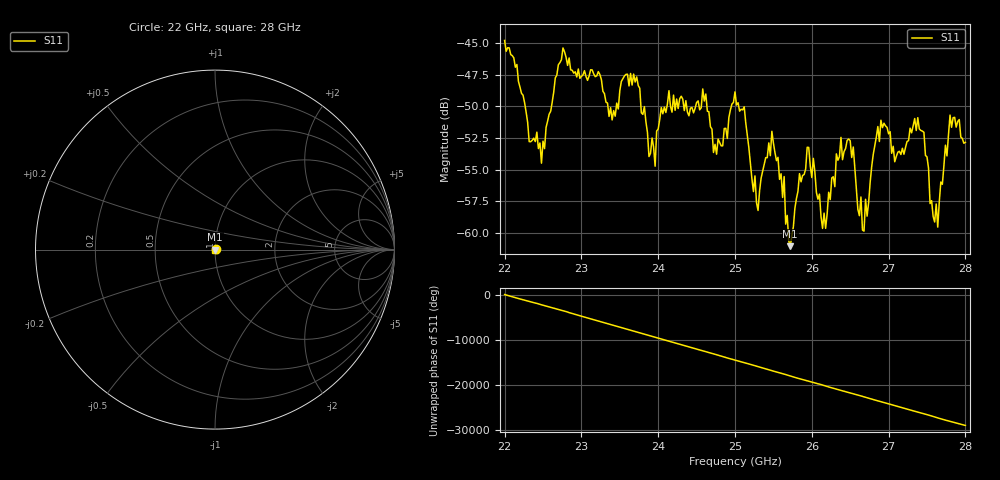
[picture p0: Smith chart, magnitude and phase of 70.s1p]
#  HZ  S  RI  R  50.00
! Rohde & Schwarz ZVA40 4Ports - Version 3.90 - 1145.1110k42 SN: 100403
! Date: 2023-10-04 10:51:31
! Measurement: S12
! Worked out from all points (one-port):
!   301 points, 22 GHz to 28 GHz, reference 50 ohm
!   lowest |S11| = -61.1 dB at 25.72 GHz (marker M1), VSWR 1.00, Z = 50.1 + j0.0415 ohm
!   |S11| at or under -10 dB: start of sweep to end of sweep
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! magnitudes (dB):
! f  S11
! 22 GHz  -44.8
! 22.48 GHz  -54.5
! 22.76 GHz  -45.4
! 23.4 GHz  -51.1
! 23.5 GHz  -48.7
! 23.72 GHz  -47.7
! 23.96 GHz  -54.7
! 24.04 GHz  -50.1
! 24.26 GHz  -50.2
! 24.58 GHz  -48.6
! 24.76 GHz  -53.8
! 25 GHz  -48.8
! 25.12 GHz  -50.0
! 25.3 GHz  -58.2
! 25.48 GHz  -52.0
! 25.72 GHz  -61.1
! 25.76 GHz  -59.5
! 25.94 GHz  -53.2
! 26.18 GHz  -59.7
! 26.38 GHz  -52.4
! 26.5 GHz  -52.7
! 26.68 GHz  -59.9
! 26.9 GHz  -51.1
! 27.26 GHz  -52.7
! 27.46 GHz  -52.0
! 27.64 GHz  -59.6
! 27.8 GHz  -50.7
! 28 GHz  -52.8
